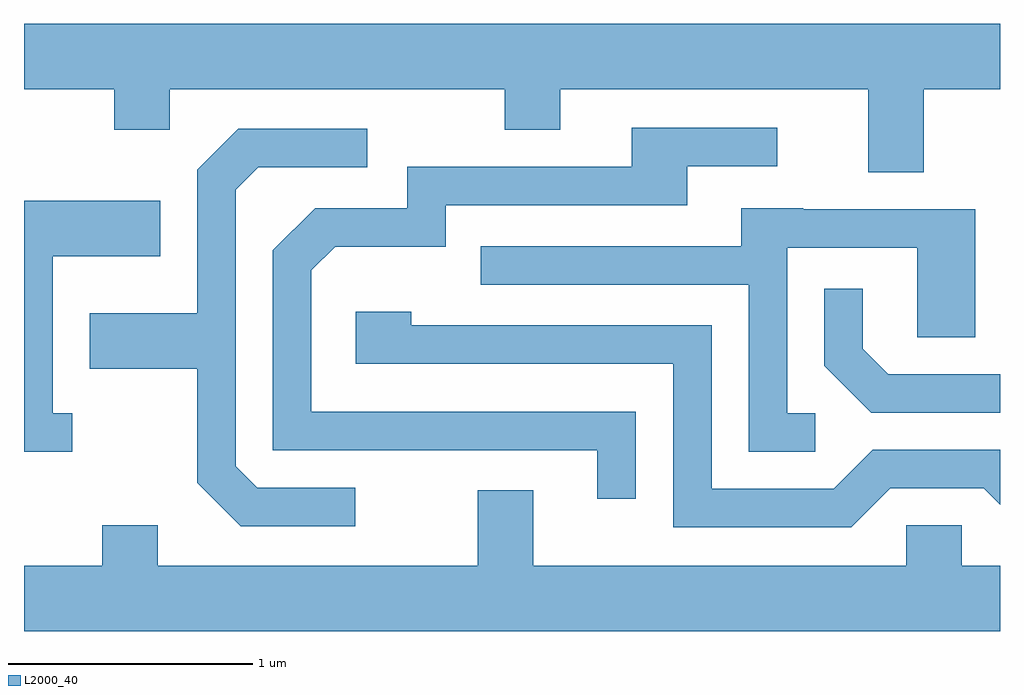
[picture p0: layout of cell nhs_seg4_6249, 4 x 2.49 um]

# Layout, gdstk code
import gdstk
lib = gdstk.Library(unit=1e-6, precision=1e-09)
def P(c, l, *ps):  # polygons
    for p in ps: c.add(gdstk.Polygon(p, *l))
L2000_40 = (2000, 40)

nhs_seg4_6249 = lib.new_cell('nhs_seg4_6249')
P(nhs_seg4_6249, L2000_40, [(371.299,1379.096),(371.611,1379.096),(371.611,1379.364),(367.611,1379.364),(367.611,1379.096),(367.981,1379.096),(367.981,1378.931),(368.209,1378.931),(368.209,1379.096),(369.581,1379.096),(369.581,1378.931),(369.809,1378.931),(369.809,1379.096),(371.071,1379.096),(371.071,1378.756),(371.299,1378.756)],
  [(370.119,1377.774),(368.789,1377.774),(368.789,1378.354),(368.887,1378.451),(369.339,1378.451),(369.339,1378.621),(370.329,1378.621),(370.329,1378.781),(370.698,1378.781),(370.698,1378.939),(370.101,1378.939),(370.101,1378.779),(369.181,1378.779),(369.181,1378.609),(368.804,1378.609),(368.631,1378.437),(368.631,1377.616),(369.961,1377.616),(369.961,1377.418),(370.119,1377.418)],
  [(368.968,1377.464),(368.567,1377.464),(368.479,1377.552),(368.479,1378.684),(368.572,1378.776),(369.018,1378.776),(369.018,1378.934),(368.489,1378.934),(368.321,1378.767),(368.321,1378.179),(367.881,1378.179),(367.881,1377.951),(368.321,1377.951),(368.321,1377.484),(368.499,1377.306),(368.968,1377.306)],
  [(367.808,1377.769),(367.729,1377.769),(367.729,1378.411),(368.169,1378.411),(368.169,1378.639),(367.611,1378.639),(367.611,1377.611),(367.808,1377.611)],
  [(370.853,1377.769),(370.739,1377.769),(370.739,1378.446),(371.271,1378.446),(371.271,1378.081),(371.509,1378.081),(371.509,1378.604),(370.805,1378.604),(370.805,1378.609),(370.551,1378.609),(370.551,1378.454),(369.483,1378.454),(369.483,1378.296),(370.581,1378.296),(370.581,1377.611),(370.853,1377.611)],
  [(371.611,1377.929),(371.152,1377.929),(371.049,1378.032),(371.049,1378.278),(370.891,1378.278),(370.891,1377.964),(371.084,1377.771),(371.611,1377.771)],
  [(371.162,1377.461),(371.544,1377.461),(371.611,1377.394),(371.611,1377.619),(371.089,1377.619),(370.929,1377.459),(370.429,1377.459),(370.429,1378.129),(369.199,1378.129),(369.199,1378.184),(368.971,1378.184),(368.971,1377.971),(370.271,1377.971),(370.271,1377.301),(371.002,1377.301)],
  [(371.611,1377.144),(371.454,1377.144),(371.454,1377.309),(371.226,1377.309),(371.226,1377.144),(369.699,1377.144),(369.699,1377.454),(369.471,1377.454),(369.471,1377.144),(368.159,1377.144),(368.159,1377.309),(367.931,1377.309),(367.931,1377.144),(367.611,1377.144),(367.611,1376.876),(371.611,1376.876)])

lib.write_gds('nhs_seg4_6249.gds')
